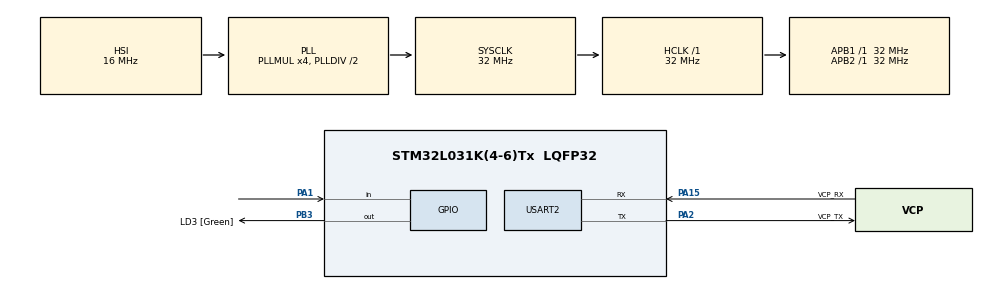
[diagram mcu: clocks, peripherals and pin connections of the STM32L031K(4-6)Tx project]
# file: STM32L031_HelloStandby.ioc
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Mcu.Family=STM32L0
Mcu.Name=STM32L031K(4-6)Tx
Mcu.Package=LQFP32
PA0-CK_IN.Mode=SYS_WakeUp0
PA0-CK_IN.Signal=SYS_WKUP1
PA1.GPIO_PuPd=GPIO_PULLDOWN
PA1.Signal=GPIO_Input
PA13.GPIO_Label=TMS
PA13.Mode=Serial_Wire
PA13.Signal=SYS_SWDIO
PA14.GPIO_Label=TCK
PA14.Mode=Serial_Wire
PA14.Signal=SYS_SWCLK
PA15.GPIO_Label=VCP_RX
PA15.Mode=Asynchronous
PA15.Signal=USART2_RX
PA2.GPIO_Label=VCP_TX
PA2.Mode=Asynchronous
PA2.Signal=USART2_TX
PB3.GPIO_Label=LD3 [Green]
PB3.Signal=GPIO_Output
PC14-OSC32_IN.Mode=LSE-External-Oscillator
PC14-OSC32_IN.Signal=RCC_OSC32_IN
PC15-OSC32_OUT.Mode=LSE-External-Oscillator
PC15-OSC32_OUT.Signal=RCC_OSC32_OUT
ProjectManager.HeapSize=0x200
ProjectManager.StackSize=0x400
ProjectManager.TargetToolchain=STM32CubeIDE
RCC.AHBFreq_Value=32000000
RCC.APB1Freq_Value=32000000
RCC.APB1TimFreq_Value=32000000
RCC.APB2Freq_Value=32000000
RCC.APB2TimFreq_Value=32000000
RCC.HCLKFreq_Value=32000000
RCC.HSE_VALUE=8000000
RCC.HSI16_VALUE=16000000
RCC.HSI48_VALUE=48000000
RCC.HSI_VALUE=16000000
RCC.MSI_VALUE=2097000
RCC.PLLMUL=RCC_PLLMUL_4
RCC.RTCClockSelection=RCC_RTCCLKSOURCE_LSE
RCC.RTCClockSelectionVirtual=RCC_RTCCLKSOURCE_LSE
RCC.SYSCLKFreq_VALUE=32000000
RCC.SYSCLKSource=RCC_SYSCLKSOURCE_PLLCLK
RCC.VCOOutputFreq_Value=64000000
USART2.VirtualMode-Asynchronous=VM_ASYNC
VP_RTC_VS_RTC_Activate.Mode=RTC_Enabled
board=NUCLEO-L031K6

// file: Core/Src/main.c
/* USER CODE BEGIN Header */
/**
  ******************************************************************************
  * @file           : main.c
  * @brief          : Main program body
  ******************************************************************************
  * @attention
  *
  * Copyright (c) 2022 STMicroelectronics.
  * All rights reserved.
  *
  * This software is licensed under terms that can be found in the LICENSE file
  * in the root directory of this software component.
  * If no LICENSE file comes with this software, it is provided AS-IS.
  *
  ******************************************************************************
  * How the code is supposed to work:
  *
  * Connect the pins PA0 and PA1 directly, then pull them either to VCC or GND.
  * The combination will from now on be called "the pins".
  *
  * When flashing the uC, the LED should turn on for 1 second, indicating the
  * initialization after reset of any kind.
  * Then the LED should stay one 1 second, indicating that there was no
  * standby previous to the reset.
  * The LED should then start blinking, as long as the pins are pulled high.
  *
  * Now there are two options: A reset from the reset button or the pins are
  * set low.
  *
  * In case of a reset, the previously described behavior will occur, meaning
  * the LED will turn on for a total of 2 seconds and then start flashing.
  * The same happens if the controller loses power.
  *
  * If the pins are set low (via pulldown), the uC will go into standby mode
  * until the pins are pulled high again.
  * When returning from stanby, the LED will light for 1 second and then turn
  * off for 1 second before starting to blink, indicating, that the controller
  * returned from standby mode as indicated by the standby flag.
  ******************************************************************************
  */
/* USER CODE END Header */
#include "main.h"

/* USER CODE BEGIN PD */
#define false 0
#define true 1
/* USER CODE END PD */

RTC_HandleTypeDef hrtc;

UART_HandleTypeDef huart2;

void SystemClock_Config(void);
static void MX_GPIO_Init(void);
static void MX_USART2_UART_Init(void);
static void MX_RTC_Init(void);

int main(void)
{

  /* MCU Configuration--------------------------------------------------------*/

  /* Reset of all peripherals, Initializes the Flash interface and the Systick. */
  HAL_Init();

  /* Configure the system clock */
  SystemClock_Config();

  /* Initialize all configured peripherals */
  MX_GPIO_Init();
  MX_USART2_UART_Init();
  MX_RTC_Init();
  /* USER CODE BEGIN 2 */

  HAL_GPIO_WritePin(GPIOB, GPIO_PIN_3, GPIO_PIN_SET);
  HAL_Delay(1000);

  // when coming from standby
  if (PWR->CSR & PWR_CSR_SBF) {
    // reset the standby flag
    PWR->CR |= PWR_CR_CSBF;

    // turn stuff on, that was previously off
    HAL_GPIO_WritePin(GPIOB, GPIO_PIN_3, GPIO_PIN_RESET);
  } else {
    // coming from flashing (or full reset)

    // do other stuff

    // reinit the rtc clock
  }

  HAL_Delay(1000);

  /* USER CODE END 2 */

  /* Infinite loop */
  /* USER CODE BEGIN WHILE */
  while (1)
  {
    HAL_GPIO_WritePin(GPIOB, GPIO_PIN_3, GPIO_PIN_SET);
    HAL_Delay(100);
    HAL_GPIO_WritePin(GPIOB, GPIO_PIN_3, GPIO_PIN_RESET);
    HAL_Delay(100);

    // if button was released, aka pulled low
    if (!HAL_GPIO_ReadPin(GPIOA, GPIO_PIN_1)) {

      // turn stuff off
      PWR->CSR |= PWR_CSR_EWUP1 | PWR_CSR_EWUP2;
      PWR->CR |= PWR_CR_CWUF;
      PWR->CR |= PWR_CR_ULP; // turn off v_refint

      HAL_PWR_EnableWakeUpPin(PWR_WAKEUP_PIN1);
      HAL_Delay(100);

      // goto standby
      HAL_PWR_EnterSTANDBYMode();
    }
    /* USER CODE END WHILE */

  }
}

void SystemClock_Config(void)
{
  RCC_OscInitTypeDef RCC_OscInitStruct = {0};
  RCC_ClkInitTypeDef RCC_ClkInitStruct = {0};
  RCC_PeriphCLKInitTypeDef PeriphClkInit = {0};

  /** Configure the main internal regulator output voltage
  */
  __HAL_PWR_VOLTAGESCALING_CONFIG(PWR_REGULATOR_VOLTAGE_SCALE1);
  /** Configure LSE Drive Capability
  */
  HAL_PWR_EnableBkUpAccess();
  __HAL_RCC_LSEDRIVE_CONFIG(RCC_LSEDRIVE_LOW);
  /** Initializes the RCC Oscillators according to the specified parameters
  * in the RCC_OscInitTypeDef structure.
  */
  RCC_OscInitStruct.OscillatorType = RCC_OSCILLATORTYPE_HSI|RCC_OSCILLATORTYPE_LSE;
  RCC_OscInitStruct.LSEState = RCC_LSE_ON;
  RCC_OscInitStruct.HSIState = RCC_HSI_ON;
  RCC_OscInitStruct.HSICalibrationValue = RCC_HSICALIBRATION_DEFAULT;
  RCC_OscInitStruct.PLL.PLLState = RCC_PLL_ON;
  RCC_OscInitStruct.PLL.PLLSource = RCC_PLLSOURCE_HSI;
  RCC_OscInitStruct.PLL.PLLMUL = RCC_PLLMUL_4;
  RCC_OscInitStruct.PLL.PLLDIV = RCC_PLLDIV_2;
  if (HAL_RCC_OscConfig(&RCC_OscInitStruct) != HAL_OK)
  {
    Error_Handler();
  }
  /** Initializes the CPU, AHB and APB buses clocks
  */
  RCC_ClkInitStruct.ClockType = RCC_CLOCKTYPE_HCLK|RCC_CLOCKTYPE_SYSCLK
                              |RCC_CLOCKTYPE_PCLK1|RCC_CLOCKTYPE_PCLK2;
  RCC_ClkInitStruct.SYSCLKSource = RCC_SYSCLKSOURCE_PLLCLK;
  RCC_ClkInitStruct.AHBCLKDivider = RCC_SYSCLK_DIV1;
  RCC_ClkInitStruct.APB1CLKDivider = RCC_HCLK_DIV1;
  RCC_ClkInitStruct.APB2CLKDivider = RCC_HCLK_DIV1;

  if (HAL_RCC_ClockConfig(&RCC_ClkInitStruct, FLASH_LATENCY_1) != HAL_OK)
  {
    Error_Handler();
  }
  PeriphClkInit.PeriphClockSelection = RCC_PERIPHCLK_USART2|RCC_PERIPHCLK_RTC;
  PeriphClkInit.Usart2ClockSelection = RCC_USART2CLKSOURCE_PCLK1;
  PeriphClkInit.RTCClockSelection = RCC_RTCCLKSOURCE_LSE;
  if (HAL_RCCEx_PeriphCLKConfig(&PeriphClkInit) != HAL_OK)
  {
    Error_Handler();
  }
}

static void MX_RTC_Init(void)
{

  /** Initialize RTC Only
  */
  hrtc.Instance = RTC;
  hrtc.Init.HourFormat = RTC_HOURFORMAT_24;
  hrtc.Init.AsynchPrediv = 127;
  hrtc.Init.SynchPrediv = 255;
  hrtc.Init.OutPut = RTC_OUTPUT_DISABLE;
  hrtc.Init.OutPutRemap = RTC_OUTPUT_REMAP_NONE;
  hrtc.Init.OutPutPolarity = RTC_OUTPUT_POLARITY_HIGH;
  hrtc.Init.OutPutType = RTC_OUTPUT_TYPE_OPENDRAIN;
  if (HAL_RTC_Init(&hrtc) != HAL_OK)
  {
    Error_Handler();
  }

}

static void MX_USART2_UART_Init(void)
{

  huart2.Instance = USART2;
  huart2.Init.BaudRate = 115200;
  huart2.Init.WordLength = UART_WORDLENGTH_8B;
  huart2.Init.StopBits = UART_STOPBITS_1;
  huart2.Init.Parity = UART_PARITY_NONE;
  huart2.Init.Mode = UART_MODE_TX_RX;
  huart2.Init.HwFlowCtl = UART_HWCONTROL_NONE;
  huart2.Init.OverSampling = UART_OVERSAMPLING_16;
  huart2.Init.OneBitSampling = UART_ONE_BIT_SAMPLE_DISABLE;
  huart2.AdvancedInit.AdvFeatureInit = UART_ADVFEATURE_NO_INIT;
  if (HAL_UART_Init(&huart2) != HAL_OK)
  {
    Error_Handler();
  }

}

static void MX_GPIO_Init(void)
{
  GPIO_InitTypeDef GPIO_InitStruct = {0};

  /* GPIO Ports Clock Enable */
  __HAL_RCC_GPIOC_CLK_ENABLE();
  __HAL_RCC_GPIOA_CLK_ENABLE();
  __HAL_RCC_GPIOB_CLK_ENABLE();

  /*Configure GPIO pin Output Level */
  HAL_GPIO_WritePin(LD3_GPIO_Port, LD3_Pin, GPIO_PIN_RESET);

  /*Configure GPIO pin : PA1 */
  GPIO_InitStruct.Pin = GPIO_PIN_1;
  GPIO_InitStruct.Mode = GPIO_MODE_INPUT;
  GPIO_InitStruct.Pull = GPIO_PULLDOWN;
  HAL_GPIO_Init(GPIOA, &GPIO_InitStruct);

  /*Configure GPIO pin : LD3_Pin */
  GPIO_InitStruct.Pin = LD3_Pin;
  GPIO_InitStruct.Mode = GPIO_MODE_OUTPUT_PP;
  GPIO_InitStruct.Pull = GPIO_NOPULL;
  GPIO_InitStruct.Speed = GPIO_SPEED_FREQ_LOW;
  HAL_GPIO_Init(LD3_GPIO_Port, &GPIO_InitStruct);

}

void Error_Handler(void)
{
  __disable_irq();
  while (1)
  {
  }
}
